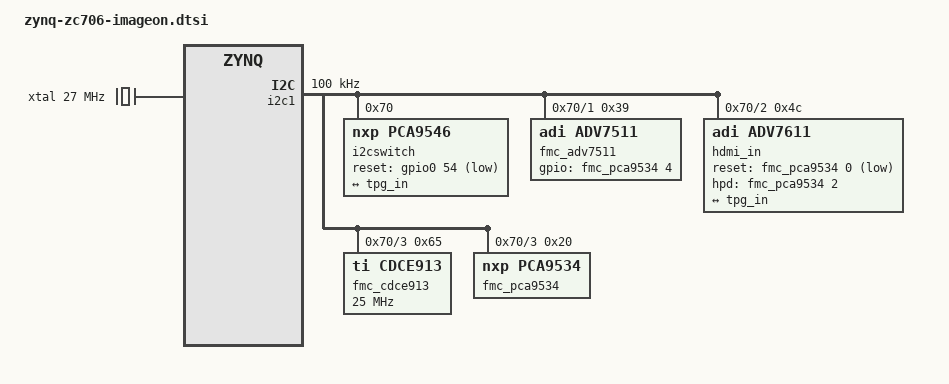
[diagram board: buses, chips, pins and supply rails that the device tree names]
/*
 * Device Tree Fragment for the Imageon FMC Add-on Board
 *
 * (C) Copyright 2014 Laurent Pinchart <laurent.pinchart@ideasonboard.com>
 */

#include <dt-bindings/gpio/gpio.h>
#include <dt-bindings/interrupt-controller/irq.h>

/ {
	aliases {
		i2c1 = &i2c1;
	};

/*	hdmi-connector {
		compatible = "hdmi-connector";
		label = "HDMI IN";
		type = "a";

		port {
			fmc_hdmi_in: endpoint {
				remote-endpoint = <&fmc_adv7611_in>;
			};
		};
	};*/

	xtal: xtal@fmc {
		compatible = "fixed-clock";
		#clock-cells = <0>;
		clock-frequency = <27000000>;
	};
};

&i2c1 {
	status = "okay";
	clock-frequency = <100000>;

	i2cswitch@70 {
		compatible = "nxp,pca9546";
		#address-cells = <1>;
		#size-cells = <0>;
		reg = <0x70>;

		reset-gpios = <&gpio0 54 GPIO_ACTIVE_LOW>;

		i2c@1 {
			#size-cells = <0>;
			#address-cells = <1>;
			reg = <1>;

			fmc_adv7511: adv7511@39 {
				compatible = "adi,adv7511";
				reg = <0x39>;
				adi,input-style = <0x02>;
				adi,input-id = <0x02>;
				adi,input-color-depth = <0x3>;
				adi,sync-pulse = <0x03>;
				adi,bit-justification = <0x02>;
				adi,up-conversion = <0x00>;
				adi,timing-generation-sequence = <0x00>;
				adi,vsync-polarity = <0x02>;
				adi,hsync-polarity = <0x02>;
				adi,tdms-clock-inversion;
				adi,clock-delay = <0x03>;

				gpios = <&fmc_pca9534 4 0>;
			};
		};

		i2c@2 {
			#address-cells = <1>;
			#size-cells = <0>;
			reg = <2>;
			hdmi_in@4c {
				compatible = "adi,adv7611";
				reg = <0x4c>;

				interrupts = <0 33 IRQ_TYPE_LEVEL_HIGH>;

				reset-gpios = <&fmc_pca9534 0 GPIO_ACTIVE_LOW>;
				hpd-gpios = <&fmc_pca9534 2 GPIO_ACTIVE_HIGH>;

				adi,default-input = <0>;

				#address-cells = <1>;
				#size-cells = <0>;

				port@0 {
					reg = <0>;
/*					fmc_adv7611_in: endpoint {
						remote-endpoint = <&fmc_hdmi_in>;
					};*/
				};
				port@1 {
					reg = <1>;
					fmc_adv7611_out: endpoint {
						remote-endpoint = <&tpg_in>;
					};
				};
			};
		};

		i2c@3 {
			#address-cells = <1>;
			#size-cells = <0>;
			reg = <3>;

			fmc_cdce913: clock-gen@65 {
				#clock-cells = <1>;
				clocks = <&xtal>;
				clock-frequency = <25000000>, <50000000>, <100000000>;
				compatible = "ti,cdce913";
				reg = <0x65>;
				ti,s0 = <1>;
				ti,input-clock-type = "xtal";
			 };

			 fmc_pca9534: pca9534@20 {
				compatible = "nxp,pca9534";
				reg = <0x20>;
				gpio-controller;
				#gpio-cells = <2>;
			 };
		};
	};
};
